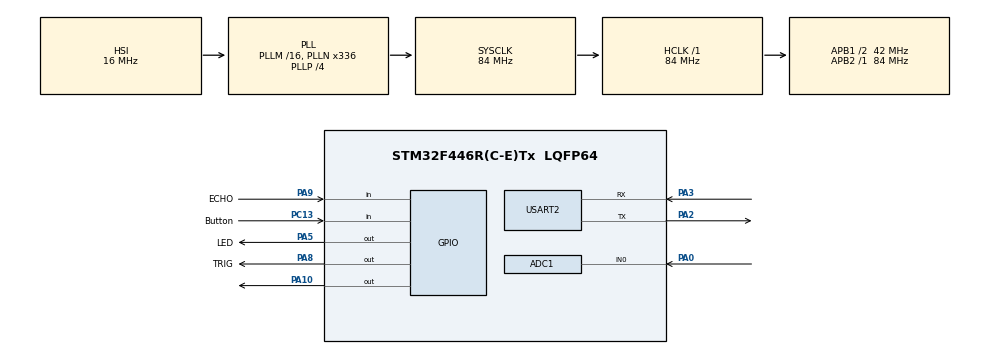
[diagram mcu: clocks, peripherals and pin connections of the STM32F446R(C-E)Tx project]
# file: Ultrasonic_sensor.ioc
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ADC1.Channel-0\#ChannelRegularConversion=ADC_CHANNEL_0
ADC1.InjNumberOfConversion=0
ADC1.NbrOfConversion=1
ADC1.NbrOfConversionFlag=1
ADC1.Rank-0\#ChannelRegularConversion=1
ADC1.SamplingTime-0\#ChannelRegularConversion=ADC_SAMPLETIME_15CYCLES
ADC1.master=1
FREERTOS.Tasks01=Task1,24,128,StartTask1,Default,NULL,Dynamic,NULL,NULL;Task2,8,128,StartTask2,Default,NULL,Dynamic,NULL,NULL
Mcu.Family=STM32F4
Mcu.Name=STM32F446R(C-E)Tx
Mcu.Package=LQFP64
NVIC.PriorityGroup=NVIC_PRIORITYGROUP_4
NVIC.TIM6_DAC_IRQn=true\:15\:0\:false\:false\:true\:false\:false\:true\:true
NVIC.TimeBase=TIM6_DAC_IRQn
NVIC.TimeBaseIP=TIM6
PA0-WKUP.Signal=ADCx_IN0
PA10.Signal=GPIO_Output
PA13.Mode=Trace_Asynchronous_SW
PA13.Signal=SYS_JTMS-SWDIO
PA14.Mode=Trace_Asynchronous_SW
PA14.Signal=SYS_JTCK-SWCLK
PA2.Mode=Asynchronous
PA2.Signal=USART2_TX
PA3.Mode=Asynchronous
PA3.Signal=USART2_RX
PA5.GPIO_Label=LED
PA5.Signal=GPIO_Output
PA8.GPIO_Label=TRIG
PA8.Signal=GPIO_Output
PA9.GPIO_Label=ECHO
PA9.Signal=GPIO_Input
PB3.Mode=Trace_Asynchronous_SW
PB3.Signal=SYS_JTDO-SWO
PC13.GPIO_Label=Button
PC13.Signal=GPIO_Input
ProjectManager.HeapSize=0x200
ProjectManager.StackSize=0x400
ProjectManager.TargetToolchain=STM32CubeIDE
RCC.48MHZClocksFreq_Value=84000000
RCC.AHBFreq_Value=84000000
RCC.APB1CLKDivider=RCC_HCLK_DIV2
RCC.APB1Freq_Value=42000000
RCC.APB1TimFreq_Value=84000000
RCC.APB2Freq_Value=84000000
RCC.APB2TimFreq_Value=84000000
RCC.CortexFreq_Value=84000000
RCC.FLatency-AdvancedSettings=FLASH_LATENCY_2
RCC.HCLKFreq_Value=84000000
RCC.HSE_VALUE=8000000
RCC.HSI_VALUE=16000000
RCC.PLLN=336
RCC.PLLP=RCC_PLLP_DIV4
RCC.SYSCLKFreq_VALUE=84000000
RCC.SYSCLKSource=RCC_SYSCLKSOURCE_PLLCLK
RCC.USBFreq_Value=168000000
RCC.VCOOutputFreq_Value=336000000
SH.ADCx_IN0.0=ADC1_IN0,IN0
TIM4.Prescaler=84-1
USART2.VirtualMode=VM_ASYNC
VP_FREERTOS_VS_CMSIS_V2.Mode=CMSIS_V2
VP_SYS_VS_tim6.Mode=TIM6
VP_TIM4_VS_ClockSourceINT.Mode=Internal
board=NUCLEO-F446RE

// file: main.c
/* USER CODE BEGIN Header */
/**
  ******************************************************************************
  * @file           : main.c
  * @brief          : Main program body
  ******************************************************************************
  * @attention
  *
  * <h2><center>&copy; Copyright (c) 2019 STMicroelectronics.
  * All rights reserved.</center></h2>
  *
  * This software component is licensed by ST under BSD 3-Clause license,
  * the "License"; You may not use this file except in compliance with the
  * License. You may obtain a copy of the License at:
  *                        opensource.org/licenses/BSD-3-Clause
  *
  ******************************************************************************
  */
/* USER CODE END Header */
#include "main.h"
#include "cmsis_os.h"

/* USER CODE BEGIN Includes */
#include <string.h>
#include <stdio.h>
#include "stm32f4xx_hal.h"
/* USER CODE END Includes */

/* USER CODE BEGIN PTD */
#define usTIM	TIM4
/* USER CODE END PTD */

ADC_HandleTypeDef hadc1;

TIM_HandleTypeDef htim4;

UART_HandleTypeDef huart2;

/* Definitions for Task1 */
osThreadId_t Task1Handle;
const osThreadAttr_t Task1_attributes = {
  .name = "Task1",
  .stack_size = 128 * 4,
  .priority = (osPriority_t) osPriorityNormal,
};
/* Definitions for Task2 */
osThreadId_t Task2Handle;
const osThreadAttr_t Task2_attributes = {
  .name = "Task2",
  .stack_size = 128 * 4,
  .priority = (osPriority_t) osPriorityLow,
};
/* USER CODE BEGIN PV */
#define BUZZER_PIN GPIO_PIN_10
/* USER CODE END PV */

void SystemClock_Config(void);
static void MX_GPIO_Init(void);
static void MX_TIM4_Init(void);
static void MX_USART2_UART_Init(void);
static void MX_ADC1_Init(void);
void StartTask1(void *argument);
void StartTask2(void *argument);

/* USER CODE BEGIN PFP */
void usDelay(uint32_t uSec);
/* USER CODE END PFP */

/* USER CODE BEGIN 0 */
//Speed of sound in cm/usec
const float speedOfSound = 0.0343/2;
//float distance=0;

// Global variable declarations
float distance = 0.0f;      // Holds the measured distance
uint8_t emergencyFlag = 0;  // Flag to indicate an emergency state
char uartBuf[100];

/* USER CODE END 0 */

uint16_t lux =0;

int main(void)
{

  /* MCU Configuration--------------------------------------------------------*/

  /* Reset of all peripherals, Initializes the Flash interface and the Systick. */
  HAL_Init();

  /* Configure the system clock */
  SystemClock_Config();

  /* Initialize all configured peripherals */
  MX_GPIO_Init();
  MX_TIM4_Init();
  MX_USART2_UART_Init();
  MX_ADC1_Init();

  /* Init scheduler */
  osKernelInitialize();

  /* Create the thread(s) */
  /* creation of Task1 */
  Task1Handle = osThreadNew(StartTask1, NULL, &Task1_attributes);

  /* creation of Task2 */
  Task2Handle = osThreadNew(StartTask2, NULL, &Task2_attributes);

  /* Start scheduler */
  osKernelStart();

  /* We should never get here as control is now taken by the scheduler */

  /* Infinite loop */
  while (1)
  {

  }
}

void SystemClock_Config(void)
{
  RCC_OscInitTypeDef RCC_OscInitStruct = {0};
  RCC_ClkInitTypeDef RCC_ClkInitStruct = {0};

  /** Configure the main internal regulator output voltage
  */
  __HAL_RCC_PWR_CLK_ENABLE();
  __HAL_PWR_VOLTAGESCALING_CONFIG(PWR_REGULATOR_VOLTAGE_SCALE3);

  /** Initializes the RCC Oscillators according to the specified parameters
  * in the RCC_OscInitTypeDef structure.
  */
  RCC_OscInitStruct.OscillatorType = RCC_OSCILLATORTYPE_HSI;
  RCC_OscInitStruct.HSIState = RCC_HSI_ON;
  RCC_OscInitStruct.HSICalibrationValue = RCC_HSICALIBRATION_DEFAULT;
  RCC_OscInitStruct.PLL.PLLState = RCC_PLL_ON;
  RCC_OscInitStruct.PLL.PLLSource = RCC_PLLSOURCE_HSI;
  RCC_OscInitStruct.PLL.PLLM = 16;
  RCC_OscInitStruct.PLL.PLLN = 336;
  RCC_OscInitStruct.PLL.PLLP = RCC_PLLP_DIV4;
  RCC_OscInitStruct.PLL.PLLQ = 2;
  RCC_OscInitStruct.PLL.PLLR = 2;
  if (HAL_RCC_OscConfig(&RCC_OscInitStruct) != HAL_OK)
  {
    Error_Handler();
  }

  /** Initializes the CPU, AHB and APB buses clocks
  */
  RCC_ClkInitStruct.ClockType = RCC_CLOCKTYPE_HCLK|RCC_CLOCKTYPE_SYSCLK
                              |RCC_CLOCKTYPE_PCLK1|RCC_CLOCKTYPE_PCLK2;
  RCC_ClkInitStruct.SYSCLKSource = RCC_SYSCLKSOURCE_PLLCLK;
  RCC_ClkInitStruct.AHBCLKDivider = RCC_SYSCLK_DIV1;
  RCC_ClkInitStruct.APB1CLKDivider = RCC_HCLK_DIV2;
  RCC_ClkInitStruct.APB2CLKDivider = RCC_HCLK_DIV1;

  if (HAL_RCC_ClockConfig(&RCC_ClkInitStruct, FLASH_LATENCY_2) != HAL_OK)
  {
    Error_Handler();
  }
}

static void MX_ADC1_Init(void)
{

  ADC_ChannelConfTypeDef sConfig = {0};

  /** Configure the global features of the ADC (Clock, Resolution, Data Alignment and number of conversion)
  */
  hadc1.Instance = ADC1;
  hadc1.Init.ClockPrescaler = ADC_CLOCK_SYNC_PCLK_DIV4;
  hadc1.Init.Resolution = ADC_RESOLUTION_12B;
  hadc1.Init.ScanConvMode = DISABLE;
  hadc1.Init.ContinuousConvMode = DISABLE;
  hadc1.Init.DiscontinuousConvMode = DISABLE;
  hadc1.Init.ExternalTrigConvEdge = ADC_EXTERNALTRIGCONVEDGE_NONE;
  hadc1.Init.ExternalTrigConv = ADC_SOFTWARE_START;
  hadc1.Init.DataAlign = ADC_DATAALIGN_RIGHT;
  hadc1.Init.NbrOfConversion = 1;
  hadc1.Init.DMAContinuousRequests = DISABLE;
  hadc1.Init.EOCSelection = ADC_EOC_SINGLE_CONV;
  if (HAL_ADC_Init(&hadc1) != HAL_OK)
  {
    Error_Handler();
  }

  /** Configure for the selected ADC regular channel its corresponding rank in the sequencer and its sample time.
  */
  sConfig.Channel = ADC_CHANNEL_0;
  sConfig.Rank = 1;
  sConfig.SamplingTime = ADC_SAMPLETIME_15CYCLES;
  if (HAL_ADC_ConfigChannel(&hadc1, &sConfig) != HAL_OK)
  {
    Error_Handler();
  }

}

static void MX_TIM4_Init(void)
{

  TIM_ClockConfigTypeDef sClockSourceConfig = {0};
  TIM_MasterConfigTypeDef sMasterConfig = {0};

  htim4.Instance = TIM4;
  htim4.Init.Prescaler = 84-1;
  htim4.Init.CounterMode = TIM_COUNTERMODE_UP;
  htim4.Init.Period = 65535;
  htim4.Init.ClockDivision = TIM_CLOCKDIVISION_DIV1;
  htim4.Init.AutoReloadPreload = TIM_AUTORELOAD_PRELOAD_DISABLE;
  if (HAL_TIM_Base_Init(&htim4) != HAL_OK)
  {
    Error_Handler();
  }
  sClockSourceConfig.ClockSource = TIM_CLOCKSOURCE_INTERNAL;
  if (HAL_TIM_ConfigClockSource(&htim4, &sClockSourceConfig) != HAL_OK)
  {
    Error_Handler();
  }
  sMasterConfig.MasterOutputTrigger = TIM_TRGO_RESET;
  sMasterConfig.MasterSlaveMode = TIM_MASTERSLAVEMODE_DISABLE;
  if (HAL_TIMEx_MasterConfigSynchronization(&htim4, &sMasterConfig) != HAL_OK)
  {
    Error_Handler();
  }

}

static void MX_USART2_UART_Init(void)
{

  huart2.Instance = USART2;
  huart2.Init.BaudRate = 115200;
  huart2.Init.WordLength = UART_WORDLENGTH_8B;
  huart2.Init.StopBits = UART_STOPBITS_1;
  huart2.Init.Parity = UART_PARITY_NONE;
  huart2.Init.Mode = UART_MODE_TX_RX;
  huart2.Init.HwFlowCtl = UART_HWCONTROL_NONE;
  huart2.Init.OverSampling = UART_OVERSAMPLING_16;
  if (HAL_UART_Init(&huart2) != HAL_OK)
  {
    Error_Handler();
  }

}

static void MX_GPIO_Init(void)
{
  GPIO_InitTypeDef GPIO_InitStruct = {0};

  /* GPIO Ports Clock Enable */
  __HAL_RCC_GPIOC_CLK_ENABLE();
  __HAL_RCC_GPIOA_CLK_ENABLE();
  __HAL_RCC_GPIOB_CLK_ENABLE();

  /*Configure GPIO pin Output Level */
  HAL_GPIO_WritePin(GPIOA, LED_Pin|TRIG_Pin|GPIO_PIN_10, GPIO_PIN_RESET);

  /*Configure GPIO pin : Button_Pin */
  GPIO_InitStruct.Pin = Button_Pin;
  GPIO_InitStruct.Mode = GPIO_MODE_INPUT;
  GPIO_InitStruct.Pull = GPIO_NOPULL;
  HAL_GPIO_Init(Button_GPIO_Port, &GPIO_InitStruct);

  /*Configure GPIO pins : LED_Pin TRIG_Pin PA10 */
  GPIO_InitStruct.Pin = LED_Pin|TRIG_Pin|GPIO_PIN_10;
  GPIO_InitStruct.Mode = GPIO_MODE_OUTPUT_PP;
  GPIO_InitStruct.Pull = GPIO_NOPULL;
  GPIO_InitStruct.Speed = GPIO_SPEED_FREQ_LOW;
  HAL_GPIO_Init(GPIOA, &GPIO_InitStruct);

  /*Configure GPIO pin : ECHO_Pin */
  GPIO_InitStruct.Pin = ECHO_Pin;
  GPIO_InitStruct.Mode = GPIO_MODE_INPUT;
  GPIO_InitStruct.Pull = GPIO_NOPULL;
  HAL_GPIO_Init(ECHO_GPIO_Port, &GPIO_InitStruct);

}

/* USER CODE BEGIN 4 */
void usDelay(uint32_t uSec)
{
	if(uSec < 2) uSec = 2;
	usTIM->ARR = uSec - 1; 	/*sets the value in the auto-reload register*/
	usTIM->EGR = 1; 			/*Re-initialises the timer*/
	usTIM->SR &= ~1; 		//Resets the flag
	usTIM->CR1 |= 1; 		//Enables the counter
	while((usTIM->SR&0x0001) != 1);
	usTIM->SR &= ~(0x0001);
}
/* USER CODE END 4 */

void StartTask1(void *argument)
{
    while (1)
    {

    	HAL_ADC_Start(&hadc1);
    	HAL_ADC_PollForConversion(&hadc1,20);
    	lux = HAL_ADC_GetValue(&hadc1);

    	if(lux>4000){
    		printf("The Stick has Fallen, Emergency\n");
    	}

        if (emergencyFlag)
        {
            printf("Task2: Emergency triggered!\r\n");
            emergencyFlag = 0;  // Reset emergency flag after handling it
        }
        else
        {
            printf("Task2 - Movement \r\n");
        }

        osDelay(1000); // Adjust the delay as needed
    }
}

void StartTask2(void *argument)

{
    uint32_t numTicks = 0;

    while (1)
    {
        // Set TRIG to LOW for few uSec
        HAL_GPIO_WritePin(TRIG_GPIO_Port, TRIG_Pin, GPIO_PIN_RESET);
        usDelay(3);

        // START Ultrasonic measure routine
        HAL_GPIO_WritePin(TRIG_GPIO_Port, TRIG_Pin, GPIO_PIN_SET); // Output 10 usec TRIG
        usDelay(10);
        HAL_GPIO_WritePin(TRIG_GPIO_Port, TRIG_Pin, GPIO_PIN_RESET);

        // Wait for ECHO pin rising edge
        while(HAL_GPIO_ReadPin(ECHO_GPIO_Port, ECHO_Pin) == GPIO_PIN_RESET);

        // Start measuring ECHO pulse width
        numTicks = 0;
        while(HAL_GPIO_ReadPin(ECHO_GPIO_Port, ECHO_Pin) == GPIO_PIN_SET)
        {
            numTicks++;
            usDelay(2); // 2.8us
        };

        // Estimate distance in cm
        distance = (numTicks + 0.0f) * 2.8 * speedOfSound;

        // Emergency message if distance is greater than 7 cm

       // printf("The Distance is : ")
        printf("Task1- Distance \n");
        if (distance < 10.0f)
        {
            emergencyFlag = 1;  // Set emergency flag
            printf("Object detected!\r\n");  // Print emergency message
        }

        HAL_Delay(100);
        osDelay(1000); // Ensure other tasks have a chance to run
    }
}

void HAL_TIM_PeriodElapsedCallback(TIM_HandleTypeDef *htim)
{
  if (htim->Instance == TIM6) {
    HAL_IncTick();
  }
}

void Error_Handler(void)
{
}
